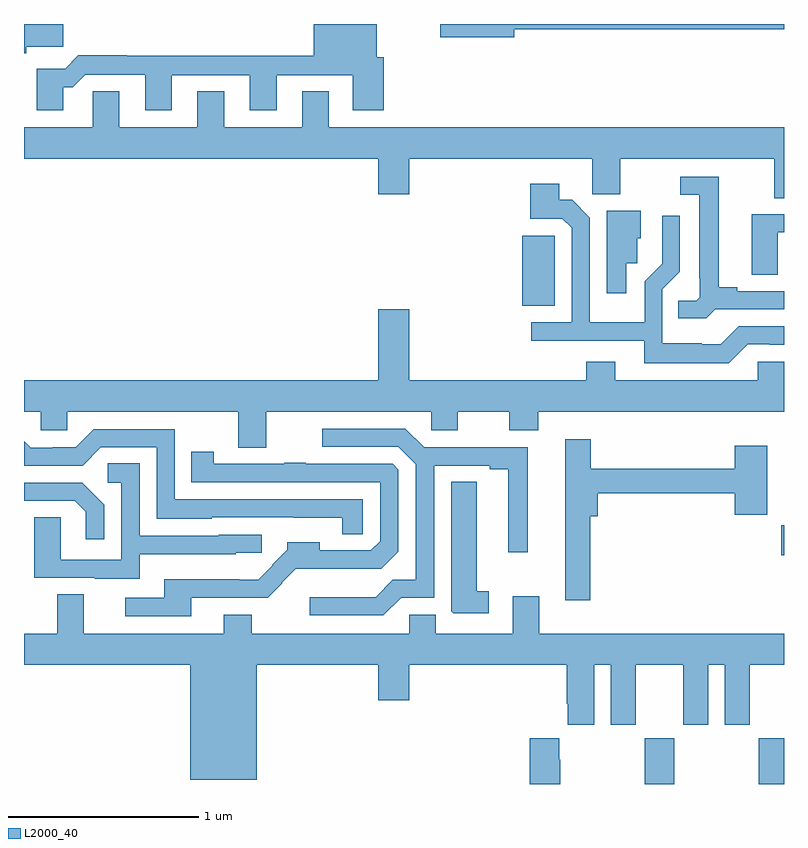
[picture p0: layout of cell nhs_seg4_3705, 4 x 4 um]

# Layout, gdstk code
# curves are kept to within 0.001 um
import gdstk
lib = gdstk.Library(unit=1e-6, precision=1e-09)
def R(c, l, rs):  # rectangles x0, y0, x1, y1
    for r in rs: c.add(gdstk.rectangle(r[:2], r[2:], *l))
def P(c, l, *ps):  # polygons
    for p in ps: c.add(gdstk.Polygon(p, *l))
L2000_40 = (2000, 40)

nhs_seg4_3705 = lib.new_cell('nhs_seg4_3705')
R(nhs_seg4_3705, L2000_40, [(310.267,754.9,310.422,755.14), (310.867,754.9,311,755.14), (310.986,756.104,311,756.262), (309.623,757.418,309.793,757.785)])
P(nhs_seg4_3705, L2000_40, [(307.207,758.567),(307.256,758.567),(307.323,758.634),(307.637,758.634),(307.637,758.445),(307.777,758.445),(307.777,758.631),(308.189,758.631),(308.189,758.445),(308.329,758.445),(308.329,758.631),(308.729,758.631),(308.729,758.445),(308.894,758.445),(308.894,758.724),(308.857,758.724),(308.857,758.9),(308.525,758.9),(308.525,758.732),(307.541,758.732),(307.541,758.735),(307.286,758.735),(307.216,758.665),(307.067,758.665),(307.067,758.445),(307.207,758.445)],
  [(309.58,758.872),(311,758.872),(311,758.9),(309.192,758.9),(309.192,758.83),(309.58,758.83)],
  [(307.012,758.779),(307.207,758.779),(307.207,758.9),(307,758.9),(307,758.747),(307.012,758.747)],
  [(311,758.356),(308.605,758.356),(308.605,758.546),(308.465,758.546),(308.465,758.356),(308.053,758.356),(308.053,758.546),(307.913,758.546),(307.913,758.356),(307.501,758.356),(307.501,758.546),(307.362,758.546),(307.362,758.356),(307,758.356),(307,758.192),(308.864,758.192),(308.864,758.004),(309.028,758.004),(309.028,758.192),(309.99,758.192),(309.99,758.003),(310.137,758.003),(310.137,758.192),(310.949,758.192),(310.949,757.984),(311,757.984)],
  [(310.638,757.398),(311,757.398),(311,757.494),(310.753,757.494),(310.753,757.514),(310.657,757.514),(310.657,758.097),(310.455,758.097),(310.455,758.001),(310.553,758.001),(310.553,757.561),(310.557,757.561),(310.557,757.461),(310.539,757.443),(310.444,757.443),(310.444,757.351),(310.59,757.351)],
  [(310.809,757.215),(310.926,757.215),(310.926,757.212),(311,757.212),(311,757.308),(310.761,757.308),(310.668,757.215),(310.568,757.215),(310.568,757.219),(310.359,757.219),(310.359,757.503),(310.452,757.596),(310.452,757.891),(310.358,757.891),(310.358,757.638),(310.266,757.546),(310.266,757.33),(309.978,757.33),(309.978,757.881),(309.885,757.974),(309.817,757.974),(309.817,758.059),(309.665,758.059),(309.665,757.875),(309.834,757.875),(309.882,757.827),(309.882,757.329),(309.669,757.329),(309.669,757.233),(310.265,757.233),(310.265,757.115),(310.709,757.115)],
  [(310.171,757.641),(310.227,757.641),(310.227,757.773),(310.246,757.773),(310.246,757.918),(310.067,757.918),(310.067,757.482),(310.171,757.482)],
  [(310.968,757.803),(311,757.803),(311,757.899),(310.829,757.899),(310.829,757.579),(310.968,757.579)],
  [(309.028,757.399),(308.864,757.399),(308.864,757.024),(307,757.024),(307,756.86),(307.089,756.86),(307.089,756.762),(307.227,756.762),(307.227,756.86),(308.128,756.86),(308.128,756.67),(308.275,756.67),(308.275,756.86),(309.144,756.86),(309.144,756.762),(309.283,756.762),(309.283,756.86),(309.554,756.86),(309.554,756.761),(309.707,756.761),(309.707,756.86),(311,756.86),(311,757.122),(310.863,757.122),(310.863,757.024),(310.111,757.024),(310.111,757.123),(309.959,757.123),(309.959,757.024),(309.028,757.024)],
  [(308.985,755.88),(309.159,755.88),(309.159,756.576),(309.452,756.576),(309.452,756.556),(309.548,756.556),(309.548,756.12),(309.652,756.12),(309.652,756.672),(309.106,756.672),(309.007,756.771),(308.571,756.771),(308.571,756.675),(308.97,756.675),(309.063,756.582),(309.063,755.975),(308.942,755.975),(308.851,755.884),(308.505,755.884),(308.505,755.787),(308.892,755.787)],
  [(308.784,756.399),(307.794,756.399),(307.794,756.768),(307.368,756.768),(307.272,756.672),(307.152,756.672),(307.152,756.669),(307.035,756.669),(307,756.704),(307,756.576),(307.308,756.576),(307.404,756.672),(307.698,756.672),(307.698,756.296),(307.989,756.296),(307.989,756.303),(308.676,756.302),(308.676,756.214),(308.784,756.214)],
  [(309.98,756.308),(310.019,756.308),(310.019,756.43),(310.742,756.43),(310.742,756.318),(310.912,756.318),(310.912,756.679),(310.742,756.679),(310.742,756.559),(309.983,756.559),(309.983,756.715),(309.848,756.715),(309.848,755.868),(309.98,755.868)],
  [(307.879,755.88),(308.283,755.88),(308.359,755.957),(308.357,755.959),(308.431,756.033),(308.765,756.032),(308.765,756.034),(308.881,756.034),(308.97,756.123),(308.97,756.555),(308.94,756.585),(308.483,756.585),(308.483,756.59),(308.371,756.59),(308.371,756.585),(307.998,756.585),(307.998,756.649),(307.879,756.649),(307.879,756.489),(308.874,756.489),(308.874,756.177),(308.826,756.129),(308.557,756.129),(308.557,756.172),(308.386,756.172),(308.386,756.133),(308.307,756.054),(308.31,756.051),(308.234,755.975),(308.132,755.975),(308.132,755.977),(307.739,755.977),(307.739,755.88),(307.533,755.88),(307.533,755.784),(307.879,755.784)],
  [(307.609,756.11),(308.115,756.11),(308.115,756.117),(308.25,756.117),(308.25,756.213),(308.025,756.213),(308.025,756.207),(307.608,756.207),(307.608,756.587),(307.44,756.587),(307.44,756.486),(307.512,756.486),(307.512,756.081),(307.194,756.081),(307.194,756.305),(307.055,756.305),(307.055,755.985),(307.373,755.985),(307.373,755.981),(307.609,755.981)],
  [(309.445,755.915),(309.382,755.915),(309.382,756.491),(309.248,756.491),(309.248,755.809),(309.258,755.799),(309.445,755.799)],
  [(307.422,756.37),(307.306,756.486),(307,756.486),(307,756.39),(307.268,756.39),(307.325,756.333),(307.325,756.189),(307.422,756.189)],
  [(309.712,755.887),(309.572,755.887),(309.572,755.692),(309.166,755.692),(309.166,755.79),(309.027,755.79),(309.027,755.692),(308.199,755.692),(308.199,755.791),(308.051,755.791),(308.051,755.692),(307.315,755.692),(307.315,755.9),(307.175,755.9),(307.175,755.692),(307,755.692),(307,755.528),(307.874,755.528),(307.874,754.922),(308.224,754.922),(308.224,755.528),(308.864,755.528),(308.864,755.34),(309.028,755.34),(309.028,755.528),(309.857,755.528),(309.857,755.323),(309.863,755.323),(309.863,755.211),(310,755.211),(310,755.528),(310.088,755.528),(310.088,755.211),(310.219,755.211),(310.219,755.528),(310.469,755.528),(310.469,755.211),(310.6,755.211),(310.6,755.528),(310.688,755.528),(310.688,755.211),(310.819,755.211),(310.819,755.528),(311,755.528),(311,755.692),(309.712,755.692)],
  [(309.822,755.027),(309.817,755.027),(309.817,755.14),(309.662,755.14),(309.662,754.9),(309.822,754.9)])

lib.write_gds('nhs_seg4_3705.gds')
